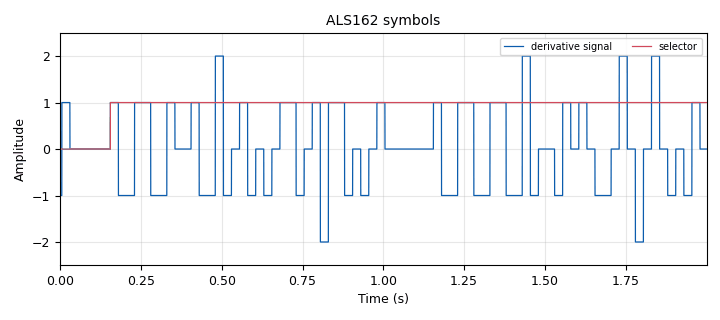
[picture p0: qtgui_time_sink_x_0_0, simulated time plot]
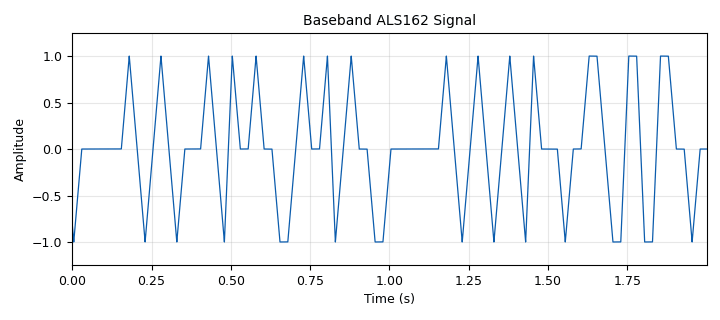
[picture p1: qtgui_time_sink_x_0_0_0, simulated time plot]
options:
  parameters:
    author: henningM1r
    generate_options: qt_gui
    id: ALS162_Transmitter
    output_language: python
    title: ALS162 Transmitter
  states: {}

blocks:
- name: freq_ALS162
  id: variable
  parameters:
    value: '162000'
  states: {}
- name: minute_tag
  id: variable_tag_object
  parameters:
    key: pmt.intern("key")
    offset: '60'
    src: pmt.intern("src")
    value: pmt.intern("min")
  states: {}
- name: samp_rate
  id: variable
  parameters:
    value: int(192000)
  states: {}
- name: subframes_minute
  id: variable
  parameters:
    value: int(1000/25)
  states: {}
- name: ALS162_codes
  id: epy_module
  parameters:
    source_code: "\nposition_code_dict = {\n    \"00\": ( 0, 0, 0, 0, 0, 0, 0, 0, 0, 0, 0, 0, 0, 0, 0, 0,\n            0, 0, 0, 0, 0, 0, 0, 0, 0, 0, 0, 0, 0, 0, 0, 0),\n    \"01\": ( 0,+1,-1, 0, 0, 0,+1,-1, 0, 0, 0, 0, 0, 0, 0,-1,\n            0,+2, 0,-2, 0,+2, 0,-2, 0,+1, 0, 0, 0, 0, 0, 0),\n    \"02\": (+1, 0,-2, 0,+2,-1,-1,+1,+1,-1,-1,+1, 0,+1, 0,-2,\n           +1, 0, 0,+1,-2, 0,+1, 0,+1,-1,-1,+1, 0, 0, 0, 0),\n    \"03\": (+1,-1, 0, 0,-1,+2, 0,-1,-1, 0,+2,-1,-1,+2, 0,-1,\n           -1, 0,+2,-1,-1,+2, 0,-1,-1, 0,+1, 0, 0, 0, 0, 0),\n    \"04\": (+1,-1,-1,+1,+1, 0,-1,-1,+1, 0,-1,+1, 0, 0, 0,+1,\n            0,-2,+1,+1,-1,-1, 0,+1,+1,-1,-1,+1, 0, 0, 0, 0),\n    \"05\": (+1,-1, 0,+1,-2, 0,+1, 0,+1, 0,-1,-1, 0,+2, 0,-1,\n           -1, 0,+1,+1,-1,-1,+2,-1,-1,+1, 0, 0, 0, 0, 0, 0),\n    \"06\": (+1,-1,-1,+1,+1, 0,-1,-1, 0,+1, 0,+1, 0,-2, 0,+2,\n            0,-2,+1,+1,-1,-1, 0,+2,-1,-1,+1, 0, 0, 0, 0, 0),\n    \"07\": ( 0, 0, 0, 0,+1, 0,-1, 0,-1, 0,+1,+1, 0,-1,-1,+1,\n            0, 0, 0,-1,+1,+1, 0,-1,-1, 0,+1, 0, 0, 0, 0, 0),\n    \"08\": ( 0, 0,+1, 0,-1, 0, 0, 0, 0,-1, 0,+1, 0, 0, 0, 0,\n            0, 0, 0, 0, 0,+1,-1,-1,+2,-1,-1,+1, 0, 0, 0, 0),\n    \"09\": (+1,-1, 0,+1,-2,+1, 0,-1,+1,+1,-1,-1,+1,+1, 0,-1,\n           -1, 0,+1,+1, 0,-1,-1, 0,+1, 0, 0, 0, 0, 0, 0, 0),\n    \"10\": ( 0,+1, 0,-1,-1, 0,+1,+1, 0,-1,-1, 0,+2,-1,-1,+1,\n           +1, 0,-1,-1,+1,+1,-2, 0,+1, 0, 0, 0, 0, 0, 0, 0),\n    \"11\": ( 0,+1, 0,-1,-1,+1,+1,-2,+1, 0,-1,+1, 0,+1,-1, 0,\n           +1,-1, 0,-1, 0,+2,-1, 0, 0,-1,+1, 0, 0, 0, 0, 0),\n    \"12\": ( 0,+1, 0,-1, 0, 0,-1, 0,+2,-1,-1,+1,+1, 0,-1, 0,\n           -1, 0,+1, 0, 0, 0, 0, 0,+1,-1,-1,+1, 0, 0, 0, 0),\n    \"13\": (+1,-1,-1,+2, 0,-1,-1, 0,+1,+1,-1, 0,+1,-2, 0,+1,\n           +1,-1,-1,+1, 0, 0,+1, 0,-1,-1, 0,+1, 0, 0, 0, 0),\n    \"14\": (+1, 0,-2,+1,+1,-2,+1, 0,-1,+2, 0,-2, 0,+1,+1,-1,\n            0, 0,-1,+1,+1,-1,-1,+2, 0,-2, 0,+1, 0, 0, 0, 0),\n    \"15\": ( 0,+1,-1,-1,+1,+1, 0,-1, 0,-1, 0,+2, 0,-1, 0,-1,\n            0,+2,-1, 0,+1,-2, 0,+2,-1,-1,+1, 0, 0, 0, 0, 0),\n    \"16\": ( 0, 0,+1, 0,-2,+1,+1,-1, 0, 0,-1,+1, 0,-1,+1, 0,\n            0, 0, 0,+1, 0,-2,+1,+1,-1,-1, 0,+1, 0, 0, 0, 0),\n    \"17\": (+1, 0,-2, 0,+2,-1, 0,+1,-1, 0, 0,-1,+1,+1,-1, 0,\n            0,-1,+1,+1,-2,+1,+1,-2, 0,+1, 0, 0, 0, 0, 0, 0),\n    \"18\": (+1,-1, 0,+1,-2, 0,+2,-1, 0,+1,-1, 0, 0,-1, 0,+2,\n            0,-1, 0,-1,+1, 0,-1,+1, 0, 0, 0, 0, 0, 0, 0, 0),\n    \"19\": (+1, 0,-1, 0,-1, 0,+1,+1,-1, 0,+1,-2, 0,+2,-1,-1,\n           +1, 0, 0,+1,-1,-1,+1, 0, 0, 0, 0, 0, 0, 0, 0, 0),\n    \"20\": (+1,-1,-1,+1, 0,+1, 0,-2, 0,+1, 0,+1,-1, 0,+1,-2,\n            0,+2,-1, 0,+1,-2, 0,+2,-1,-1,+1, 0, 0, 0, 0, 0),\n    \"21\": ( 0, 0,+1,-1,-1,+2,-1, 0,+1,-1, 0,-1, 0,+1,+1,-1,\n            0,+1,-2,+1,+1,-1, 0,-1, 0,+1, 0, 0, 0, 0, 0, 0),\n    \"22\": (+1,-1,-1,+2,-1, 0, 0,-1,+1, 0,+1, 0,-1,-1, 0,+2,\n            0,-2, 0,+2, 0,-1, 0,-1,+1, 0,-1,+1, 0, 0, 0, 0),\n    \"23\": ( 0, 0, 0, 0,+1, 0,-1, 0, 0, 0, 0, 0,-1,+1,+1,-2,\n           +1, 0, 0,+1,-1,-1, 0,+2, 0,-2, 0,+1, 0, 0, 0, 0),\n    \"24\": ( 0, 0, 0, 0,+1,-1, 0, 0, 0,+1,-2,+1, 0,-1,+2, 0,\n           -1,-1,+1,+1,-2,+1,+1,-1, 0,-1, 0,+1, 0, 0, 0, 0),\n    \"25\": (+1, 0,-2, 0,+1, 0, 0, 0,+1, 0,-2, 0,+2, 0,-1, 0,\n            0,-1,+1, 0, 0,+1,-2,+1,+1,-2, 0,+1, 0, 0, 0, 0),\n    \"26\": (+1,-1, 0,+1,-2, 0,+2,-1, 0, 0, 0,+1,-2, 0,+2,-1,\n           -1,+1, 0,+1,-1, 0,+1,-1,-1, 0,+1, 0, 0, 0, 0, 0),\n    \"27\": (+1, 0,-2, 0,+1,+1,-1,-1,+1, 0,+1, 0,-2, 0,+2, 0,\n           -1,-1,+1, 0,-1,+1,+1, 0,-2, 0,+1, 0, 0, 0, 0, 0),\n    \"28\": (+1, 0,-1,-1,+1,+1,-2,+1, 0, 0,+1,-2, 0,+1, 0,+1,\n           -1,-1,+2, 0,-1, 0,-1,+1,+1,-2, 0,+1, 0, 0, 0, 0),\n    \"29\": ( 0,+1,-1,-1,+2, 0,-2, 0,+2, 0,-1, 0, 0, 0, 0,-1,\n            0,+2,-1,-1,+1, 0,+1,-1,-1,+1, 0, 0, 0, 0, 0, 0),\n    \"30\": (+1, 0,-2, 0,+2,-1,-1,+1, 0,+1, 0,-2, 0,+2, 0,-2,\n           +1, 0, 0,+1,-2, 0,+1,+1, 0,-2, 0,+1, 0, 0, 0, 0),\n    \"31\": ( 0,+1,-1, 0,+1,-2, 0,+1,+1, 0,-2,+1,+1,-1, 0,-1,\n            0,+2, 0,-1,-1, 0,+2,-1,-1,+1, 0, 0, 0, 0, 0, 0),\n    \"32\": ( 0, 0,+1, 0,-2,+1,+1,-1,-1, 0,+1,+1, 0,-2, 0,+1,\n            0, 0, 0,+1, 0,-2,+1, 0, 0, 0,-1,+1, 0, 0, 0, 0),\n    \"33\": (+1, 0,-1, 0,-1,+1, 0,-1,+1, 0, 0,+1,-1, 0,+1,-1,\n            0, 0, 0,-1, 0,+1,+1, 0,-2, 0,+1, 0, 0, 0, 0, 0),\n    \"34\": ( 0, 0, 0, 0,+1, 0,-2, 0,+2,-1,-1,+2, 0,-1, 0, 0,\n            0,-1,+1,+1,-1, 0, 0, 0,-1, 0,+1, 0, 0, 0, 0, 0),\n    \"35\": ( 0, 0, 0,+1, 0,-1, 0, 0,-1, 0,+1, 0,+1, 0,-2,+1,\n            0, 0,+1,-1, 0,-1, 0,+1,+1,-1,-1,+1, 0, 0, 0, 0),\n    \"36\": (+1,-1, 0,+1,-1, 0, 0, 0,-1, 0,+2,-1, 0, 0, 0, 0,\n           -1,+1, 0, 0, 0,+1,-1, 0, 0,-1,+1, 0, 0, 0, 0, 0),\n    \"37\": (+1,-1,-1,+1, 0,+1,-1,-1,+1,+1,-1,-1,+1, 0,+1, 0,\n           -2,+1, 0, 0,+1,-1,-1, 0,+1, 0, 0, 0, 0, 0, 0, 0),\n    \"38\": ( 0,+1, 0,-2,+1,+1,-1, 0, 0, 0,-1, 0,+2,-1,-1,+1,\n           +1, 0,-2, 0,+1,+1,-1,-1,+1, 0, 0, 0, 0, 0, 0, 0),\n    \"39\": ( 0,+1, 0,-1,-1,+1,+1,-2, 0,+2,-1,-1,+1,+1,-1, 0,\n           +1,-1, 0,-1, 0,+2,-1,-1,+1, 0, 0, 0, 0, 0, 0, 0),\n    \"40\": ( 0,+1, 0,-1, 0, 0,-1, 0,+2,-1,-1,+1,+1,-1,-1,+1,\n           +1, 0,-1, 0, 0, 0, 0, 0,-1, 0,+1, 0, 0, 0, 0, 0),\n    \"41\": ( 0,+1, 0,-1,-1,+1,+1,-2,+1,+1,-1, 0,-1, 0,+2,-1,\n           -1,+1, 0,+1, 0,-2,+1, 0,-1,+1, 0, 0, 0, 0, 0, 0),\n    \"42\": (+1, 0,-1,-1,+1, 0,-1,+2, 0,-1,-1,+1,+1,-2, 0,+2,\n           -1,-1,+2, 0,-2, 0,+2, 0,-1,-1, 0,+1, 0, 0, 0, 0),\n    \"43\": (+1, 0,-1, 0,-1, 0,+2, 0,-2, 0,+2,-1, 0,+1,-1, 0,\n            0, 0, 0,-1,+1, 0,-1,+1,+1,-1,-1,+1, 0, 0, 0, 0),\n    \"44\": ( 0,+1,-1,-1,+2, 0,-2, 0,+2,-1, 0, 0, 0, 0, 0,+1,\n           -2,+1, 0,-1,+1, 0, 0, 0,+1,-1,-1,+1, 0, 0, 0, 0),\n    \"45\": ( 0,+1, 0,-1, 0, 0,-1,+1,+1,-2,+1, 0,-1,+2, 0,-2,\n            0,+1, 0, 0, 0, 0, 0,+1,-1,-1,+1, 0, 0, 0, 0, 0),\n    \"46\": (+1,-1,-1,+1,+1,-1,-1,+2, 0,-2, 0,+2,-1,-1,+1,+1,\n            0,-2,+1,+1,-2, 0,+2, 0,-2, 0,+1, 0, 0, 0, 0, 0),\n    \"47\": ( 0, 0,+1, 0,-2, 0,+1, 0,+1, 0,-2,+1, 0,-1,+2,-1,\n            0, 1,-1,-1,+1,+1,-2,+1,+1,-2, 0,+1, 0, 0, 0, 0),\n    \"48\": (+1, 0,-1,-1,+1, 0, 0,+1,-2,+1, 0,-1,+2, 0,-2,+1,\n            0,-1,+2, 0,-2,+1, 0, 0, 1,-2, 0,+1, 0, 0, 0, 0),\n    \"49\": (+1,-1,-1,+2,-1,-1,+2, 0,-2, 0,+2, 0,-1, 0, 0, 0,\n           -1,+1,+1,-2,+1, 0,-1,+1,+1,-1,-1,+1, 0, 0, 0, 0),\n    \"50\": ( 0, 0,+1, 0,-2, 0,+1, 0,+1,-1, 0, 0, 0, 0, 0,+1,\n           -1, 0, 0,-1,+1,+1,-1, 0,-1, 0,+1, 0, 0, 0, 0, 0),\n    \"51\": (+1,-1,-1,+1, 0, 0, 0,+1,-1, 0,+1,-1,-1, 0,+2, 0,\n           -2,+1, 0, 0, 0,-1,+1, 0, 0, 0, 0, 0, 0, 0, 0, 0),\n    \"52\": (+1, 0,-1,-1,+1,+1,-1, 0, 0, 0, 0,-1,+1, 0,-1,+2,\n           -1,-1,+2, 0,-1,-1,+1,+1,-1,-1, 0,+1, 0, 0, 0, 0),\n    \"53\": ( 0,+1, 0,-1,-1, 0,+2, 0,-2, 0,+1,+1,-1,-1,+1,+1,\n            0,-1, 0,-1,+1, 0,-1,+1,+1,-1,-1,+1, 0, 0, 0, 0),\n    \"54\": (+1, 0,-1,-1, 0,+1,+1, 0,-2,+1, 0, 0, 0, 0, 0, 0,\n            0,-1,+2,-1, 0, 0, 0, 0,-1,+1, 0, 0, 0, 0, 0, 0),\n    \"55\": ( 0, 0,+1,-1, 0,+1,-2, 0,+2,-1,-1,+2,-1, 0, 0, 0,\n            0,-1,+2, 0,-1, 0,-1,+1, 0,-1,+1, 0, 0, 0, 0, 0),\n    \"56\": ( 0, 0, 0, 0, 0, 0, 0,+1,-1,-1,+2, 0,-2, 0,+1, 0,\n            0,+1,-1, 0, 0,-1,+2,-1, 0, 0,-1,+1, 0, 0, 0, 0),\n    \"57\": ( 0, 0,+1, 0,-2,+1, 0, 0,+1,-1,-1,+1, 0, 0,+1,-2,\n           +1,+1,-1,-1, 0,+1, 0,+1, 0,-2, 0,+1, 0, 0, 0, 0),\n    \"58\": (+1, 0,-1, 0,-1,+1, 0,-1,+2,-1,-1,+2,-1,-1,+2,-1,\n            0,+1,-1,-1, 0,+1, 0, 0,+1,-1,-1,+1, 0, 0, 0, 0),\n    \"59\": (+1, 0,-2, 0,+2, 0,-2, 0,+2, 0,-2, 0,+2, 0,-2, 0,\n           +2, 0,-2, 0,+1, 0, 0, 0, 0, 0, 0, 0, 0, 0, 0, 0)\n}\n"
  states: {}
- name: analog_const_source_x_0
  id: analog_const_source_x
  parameters:
    const: '1'
    type: float
  states: {}
- name: analog_sig_source_x_2
  id: analog_sig_source_x
  parameters:
    amp: '1'
    comment: |-
      modulation signal to shift the
      pass band signal up to 162 kHz
    freq: freq_ALS162
    offset: '0'
    phase: '0'
    samp_rate: samp_rate
    type: complex
    waveform: analog.GR_COS_WAVE
  states: {}
- name: blocks_add_xx_0
  id: blocks_add_xx
  parameters:
    comment: |-
      superimpose bit
      position codewords
      into the 32 yet
      empty time-slices
    type: short
  states: {}
- name: blocks_magphase_to_complex_0
  id: blocks_magphase_to_complex
  parameters:
    comment: |-
      as the ALS162 signal is
      mainly defined by its phase
  states: {}
- name: blocks_multiply_const_vxx_0
  id: blocks_multiply_const_vxx
  parameters:
    comment: |-
      normalize signal
      to range [-1, 1]

      =(subframes_minute/samp_rate)
      =40/(192k)
    const: subframes_minute/samp_rate
    type: float
  states: {}
- name: blocks_multiply_xx_0
  id: blocks_multiply_xx
  parameters:
    type: complex
  states: {}
- name: blocks_null_sink_0
  id: blocks_null_sink
  parameters:
    type: short
  states: {}
- name: blocks_null_source_0
  id: blocks_null_source
  parameters:
    type: short
  states: {}
- name: blocks_repeat_0
  id: blocks_repeat
  parameters:
    interp: int(samp_rate/subframes_minute)
    type: float
  states: {}
- name: blocks_repeat_0_0
  id: blocks_repeat
  parameters:
    comment: |-
      each bit streches a number
      of "samp_rate" samples,
      i.e. fill one full second
    interp: int(samp_rate/subframes_minute)
    type: float
  states: {}
- name: blocks_repeat_1
  id: blocks_repeat
  parameters:
    comment: |-
      40 repeat time bits
      for each full second
    interp: subframes_minute
    type: short
  states: {}
- name: blocks_short_to_float_0
  id: blocks_short_to_float
  parameters:
    scale: '1'
  states: {}
- name: blocks_short_to_float_1
  id: blocks_short_to_float
  parameters:
    scale: '1'
  states: {}
- name: blocks_throttle_0
  id: blocks_throttle
  parameters:
    samples_per_second: '1'
    type: short
  states: {}
- name: blocks_vector_source_x_0_0
  id: blocks_vector_source_x
  parameters:
    comment: |-
      example ALS162 encoded
      bit-stream full length: must
      be 60 elements, the last
      element must be a 2
      ===
      here:
      time: 17:43
      weekday: Monday
      Date: 01.05.23
    repeat: 'True'
    tags: '[minute_tag]'
    type: short
    vector: (0,0,0,0,0,0,1,0,0,0,0,0,0,0,1,0,0,1,0,0,1,1,1,0,0,0,0,1,1,1,1,1,0,1,0,0,1,0,0,0,0,0,1,0,0,1,0,1,0,0,1,1,0,0,0,1,0,0,1,2)
  states: {}
- name: blocks_vector_source_x_0_0_0
  id: blocks_vector_source_x
  parameters:
    comment: derivative of waveform for 0
    repeat: 'True'
    type: short
    vector: list(1*[+1,-1,-1,+1,0,0,0,0])+list((subframes_minute-8)*[0])
  states: {}
- name: blocks_vector_source_x_0_0_0_0
  id: blocks_vector_source_x
  parameters:
    comment: derivative of waveform for 1
    repeat: 'True'
    type: short
    vector: list(1*[+1,-1,-1,+1,+1,-1,-1,+1])+list((subframes_minute-8)*[0])
  states: {}
- name: blocks_vector_source_x_0_0_0_0_0
  id: blocks_vector_source_x
  parameters:
    comment: |-
      derivative of waveform for 2
      (new minute)
    repeat: 'True'
    type: short
    vector: list(subframes_minute*[0])
  states: {}
- name: blocks_vector_source_x_0_0_0_0_0_0
  id: blocks_vector_source_x
  parameters:
    comment: |-
      derivative of waveforms
      for bit positions
    repeat: 'True'
    type: short
    vector: |-
      list(8*[0]) + list(ALS162_codes.position_code_dict["01"]) + \
      list(8*[0]) + list(ALS162_codes.position_code_dict["02"]) + \
      list(8*[0]) + list(ALS162_codes.position_code_dict["03"]) + \
      list(8*[0]) + list(ALS162_codes.position_code_dict["04"]) + \
      list(8*[0]) + list(ALS162_codes.position_code_dict["05"]) + \
      list(8*[0]) + list(ALS162_codes.position_code_dict["06"]) + \
      list(8*[0]) + list(ALS162_codes.position_code_dict["07"]) + \
      list(8*[0]) + list(ALS162_codes.position_code_dict["08"]) + \
      list(8*[0]) + list(ALS162_codes.position_code_dict["09"]) + \
      list(8*[0]) + list(ALS162_codes.position_code_dict["10"]) + \
      list(8*[0]) + list(ALS162_codes.position_code_dict["11"]) + \
      list(8*[0]) + list(ALS162_codes.position_code_dict["12"]) + \
      list(8*[0]) + list(ALS162_codes.position_code_dict["13"]) + \
      list(8*[0]) + list(ALS162_codes.position_code_dict["14"]) + \
      list(8*[0]) + list(ALS162_codes.position_code_dict["15"]) + \
      list(8*[0]) + list(ALS162_codes.position_code_dict["16"]) + \
      list(8*[0]) + list(ALS162_codes.position_code_dict["17"]) + \
      list(8*[0]) + list(ALS162_codes.position_code_dict["18"]) + \
      list(8*[0]) + list(ALS162_codes.position_code_dict["19"]) + \
      list(8*[0]) + list(ALS162_codes.position_code_dict["20"]) + \
      list(8*[0]) + list(ALS162_codes.position_code_dict["21"]) + \
      list(8*[0]) + list(ALS162_codes.position_code_dict["22"]) + \
      list(8*[0]) + list(ALS162_codes.position_code_dict["23"]) + \
      list(8*[0]) + list(ALS162_codes.position_code_dict["24"]) + \
      list(8*[0]) + list(ALS162_codes.position_code_dict["25"]) + \
      list(8*[0]) + list(ALS162_codes.position_code_dict["26"]) + \
      list(8*[0]) + list(ALS162_codes.position_code_dict["27"]) + \
      list(8*[0]) + list(ALS162_codes.position_code_dict["28"]) + \
      list(8*[0]) + list(ALS162_codes.position_code_dict["29"]) + \
      list(8*[0]) + list(ALS162_codes.position_code_dict["30"]) + \
      list(8*[0]) + list(ALS162_codes.position_code_dict["31"]) + \
      list(8*[0]) + list(ALS162_codes.position_code_dict["32"]) + \
      list(8*[0]) + list(ALS162_codes.position_code_dict["33"]) + \
      list(8*[0]) + list(ALS162_codes.position_code_dict["34"]) + \
      list(8*[0]) + list(ALS162_codes.position_code_dict["35"]) + \
      list(8*[0]) + list(ALS162_codes.position_code_dict["36"]) + \
      list(8*[0]) + list(ALS162_codes.position_code_dict["37"]) + \
      list(8*[0]) + list(ALS162_codes.position_code_dict["38"]) + \
      list(8*[0]) + list(ALS162_codes.position_code_dict["39"]) + \
      list(8*[0]) + list(ALS162_codes.position_code_dict["40"]) + \
      list(8*[0]) + list(ALS162_codes.position_code_dict["41"]) + \
      list(8*[0]) + list(ALS162_codes.position_code_dict["42"]) + \
      list(8*[0]) + list(ALS162_codes.position_code_dict["43"]) + \
      list(8*[0]) + list(ALS162_codes.position_code_dict["44"]) + \
      list(8*[0]) + list(ALS162_codes.position_code_dict["45"]) + \
      list(8*[0]) + list(ALS162_codes.position_code_dict["46"]) + \
      list(8*[0]) + list(ALS162_codes.position_code_dict["47"]) + \
      list(8*[0]) + list(ALS162_codes.position_code_dict["48"]) + \
      list(8*[0]) + list(ALS162_codes.position_code_dict["49"]) + \
      list(8*[0]) + list(ALS162_codes.position_code_dict["50"]) + \
      list(8*[0]) + list(ALS162_codes.position_code_dict["51"]) + \
      list(8*[0]) + list(ALS162_codes.position_code_dict["52"]) + \
      list(8*[0]) + list(ALS162_codes.position_code_dict["53"]) + \
      list(8*[0]) + list(ALS162_codes.position_code_dict["54"]) + \
      list(8*[0]) + list(ALS162_codes.position_code_dict["55"]) + \
      list(8*[0]) + list(ALS162_codes.position_code_dict["56"]) + \
      list(8*[0]) + list(ALS162_codes.position_code_dict["57"]) + \
      list(8*[0]) + list(ALS162_codes.position_code_dict["58"]) + \
      list(8*[0]) + list(ALS162_codes.position_code_dict["59"]) + \
      list(8*[0]) + list(ALS162_codes.position_code_dict["00"])
  states: {}
- name: epy_block_0
  id: epy_block
  parameters:
    _source_code: "\nimport numpy as np\nfrom gnuradio import gr\n\n\nclass blk(gr.sync_block):\n\n    def __init__(self):\n        gr.sync_block.__init__(\n            self,\n            name='Synchronous\\nWaveform Selector',\n            in_sig=[np.short,     # selector\n                    np.short,     # input signal for symbol zero\n                    np.short,     # input signal for symbol one\n                    np.short],    # input signal for symbol two\n            out_sig=[np.short,    # output signal\n                     np.short]    # forward selector\n        )\n\n    def work(self, input_items, output_items):\n        inp0 = input_items[0]   # selector value\n        inp1 = input_items[1]   # input signal for symbol zero\n        inp2 = input_items[2]   # input signal for symbol one\n        inp3 = input_items[3]   # input signal for symbol two\n\n        # only as initialization value for output signal\n        output_items[0][:] = inp3\n\n        # forward the selector value\n        output_items[1][:] = inp0\n\n        # synchronously select the input signal to forward it to the output\n        output_items[0][:] = self.selsym_to_bbsig(inp0, inp1, inp2, inp3)\n\n        return len(output_items[0])\n\n    # selected symbol to baseband signal\n    def selsym_to_bbsig(self, inp0, inp1, inp2, inp3):\n        out = inp0\n\n        for idx, ch in enumerate(inp0):\n            # forward waveform for symbol zero\n            if (ch == 0):\n                out[idx] = inp1[idx]\n\n            # forward waveform for symbol one\n            elif (ch == 1):\n                out[idx] = inp2[idx]\n\n            # forward waveform for symbol two\n            elif (ch == 2):\n                out[idx] = inp3[idx]\n\n        return out\n"
    comment: |-
      selects the waveform
      to the corresponding
      symbol 0, 1 or 2

      to fill up the first
      8 time slices
      (+ 32 zeros)
  states: {}
- name: iir_filter_xxx_0
  id: iir_filter_xxx
  parameters:
    comment: |-
      integrator to obtain
      the desired base band
      waveform
    fbtaps: '[0,1]'
    fftaps: '[1,0]'
    type: ffd
  states: {}
- name: import_0
  id: import
  parameters:
    imports: import numpy as np
  states: {}
- name: import_1
  id: import
  parameters:
    imports: import pmt
  states: {}
- name: network_tcp_sink_0
  id: network_tcp_sink
  parameters:
    mode: '2'
    port: '55553'
    type: complex
  states: {}
- name: note_0
  id: note
  parameters:
    comment: |-
      Note that these
      waveforms are in
      perfect sync to
      each other
  states: {}
- name: qtgui_freq_sink_x_0
  id: qtgui_freq_sink_x
  parameters:
    bw: samp_rate
    fc: '0'
    fftsize: '1024'
    gui_hint: (4,0)
    name: Modulated_ALS162_signal_frequency
    type: complex
  states: {state: disabled}
- name: qtgui_freq_sink_x_0_0
  id: qtgui_freq_sink_x
  parameters:
    bw: samp_rate
    comment: |-
      The bandwidth of the complex
      baseband signal (main lobe) is
      roughly 2 kHz. Higher harmonic
      frequencies at approx. x*25kHz
      mainly contribute to the triangular
      shaped signal peaks.
    fc: '0'
    fftsize: '2048'
    gui_hint: (4,0)
    name: Baseband_ALS162_signal_frequency
    type: complex
  states: {state: disabled}
- name: qtgui_time_sink_x_0
  id: qtgui_time_sink_x
  parameters:
    name: Modulated_ALS162_signal_time
    size: samp_rate*4
    srate: samp_rate
    type: complex
    ymax: '0.1'
    ymin: '-0.1'
  states: {state: disabled}
- name: qtgui_time_sink_x_0_0
  id: qtgui_time_sink_x
  parameters:
    gui_hint: (1,0)
    label1: derivative signal
    label2: selector
    name: ALS162 symbols
    nconnections: '2'
    size: samp_rate*2
    srate: samp_rate
    type: float
    update_time: '0.02'
    ymax: '2.5'
    ymin: '-2.5'
  states: {}
- name: qtgui_time_sink_x_0_0_0
  id: qtgui_time_sink_x
  parameters:
    gui_hint: (2,0)
    name: Baseband ALS162 Signal
    size: samp_rate*2
    srate: samp_rate
    type: float
    update_time: '0.02'
    ymax: '1.25'
    ymin: '-1.25'
  states: {}
- name: virtual_sink_0
  id: virtual_sink
  parameters:
    stream_id: '1'
  states: {}
- name: virtual_sink_1
  id: virtual_sink
  parameters:
    stream_id: 0_a
  states: {}
- name: virtual_sink_2
  id: virtual_sink
  parameters:
    stream_id: 0_b
  states: {}
- name: virtual_source_0
  id: virtual_source
  parameters:
    stream_id: '1'
  states: {}
- name: virtual_source_1
  id: virtual_source
  parameters:
    stream_id: 0_a
  states: {}
- name: virtual_source_1_0
  id: virtual_source
  parameters:
    stream_id: 0_b
  states: {}
- name: zeromq_sub_source_0
  id: zeromq_sub_source
  parameters:
    address: tcp://127.0.0.1:55552
    comment: |-
      sends bits from ALS162 Encoder
      1 symbol per second
    timeout: '100'
    type: short
  states: {state: disabled}

connections:
- [analog_const_source_x_0, '0', blocks_magphase_to_complex_0, '0']
- [analog_sig_source_x_2, '0', blocks_multiply_xx_0, '0']
- [blocks_add_xx_0, '0', blocks_short_to_float_0, '0']
- [blocks_magphase_to_complex_0, '0', blocks_multiply_xx_0, '1']
- [blocks_magphase_to_complex_0, '0', qtgui_freq_sink_x_0_0, '0']
- [blocks_multiply_const_vxx_0, '0', qtgui_time_sink_x_0_0_0, '0']
- [blocks_multiply_const_vxx_0, '0', virtual_sink_0, '0']
- [blocks_multiply_xx_0, '0', network_tcp_sink_0, '0']
- [blocks_multiply_xx_0, '0', qtgui_freq_sink_x_0, '0']
- [blocks_multiply_xx_0, '0', qtgui_time_sink_x_0, '0']
- [blocks_null_source_0, '0', blocks_throttle_0, '0']
- [blocks_repeat_0, '0', iir_filter_xxx_0, '0']
- [blocks_repeat_0, '0', qtgui_time_sink_x_0_0, '0']
- [blocks_repeat_0_0, '0', qtgui_time_sink_x_0_0, '1']
- [blocks_repeat_1, '0', epy_block_0, '0']
- [blocks_short_to_float_0, '0', virtual_sink_1, '0']
- [blocks_short_to_float_1, '0', virtual_sink_2, '0']
- [blocks_throttle_0, '0', blocks_null_sink_0, '0']
- [blocks_vector_source_x_0_0, '0', blocks_repeat_1, '0']
- [blocks_vector_source_x_0_0_0, '0', epy_block_0, '1']
- [blocks_vector_source_x_0_0_0_0, '0', epy_block_0, '2']
- [blocks_vector_source_x_0_0_0_0_0, '0', epy_block_0, '3']
- [blocks_vector_source_x_0_0_0_0_0_0, '0', blocks_add_xx_0, '0']
- [epy_block_0, '0', blocks_add_xx_0, '1']
- [epy_block_0, '1', blocks_short_to_float_1, '0']
- [iir_filter_xxx_0, '0', blocks_multiply_const_vxx_0, '0']
- [virtual_source_0, '0', blocks_magphase_to_complex_0, '1']
- [virtual_source_1, '0', blocks_repeat_0, '0']
- [virtual_source_1_0, '0', blocks_repeat_0_0, '0']
- [zeromq_sub_source_0, '0', blocks_repeat_1, '0']

metadata:
  file_format: 1
